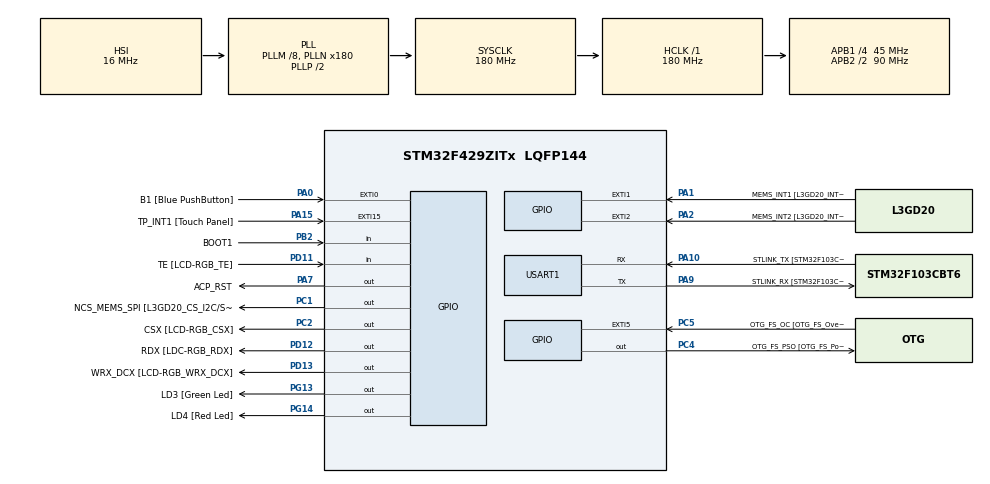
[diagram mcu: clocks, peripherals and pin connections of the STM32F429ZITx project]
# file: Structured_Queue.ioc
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FREERTOS.Tasks01=defaultTask,0,128,StartDefaultTask,Default,NULL,Dynamic,NULL,NULL
Mcu.Family=STM32F4
Mcu.Name=STM32F429ZITx
Mcu.Package=LQFP144
NVIC.PriorityGroup=NVIC_PRIORITYGROUP_4
NVIC.TIM5_IRQn=true\:15\:0\:false\:false\:true\:false\:false\:true\:true
NVIC.TimeBase=TIM5_IRQn
NVIC.TimeBaseIP=TIM5
PA0/WKUP.GPIO_Label=B1 [Blue PushButton]
PA0/WKUP.GPIO_ModeDefaultEXTI=GPIO_MODE_EVT_RISING
PA0/WKUP.GPIO_PuPd=GPIO_NOPULL
PA0/WKUP.Signal=GPXTI0
PA1.GPIO_Label=MEMS_INT1 [L3GD20_INT1]
PA1.GPIO_ModeDefaultEXTI=GPIO_MODE_EVT_RISING
PA1.GPIO_PuPd=GPIO_NOPULL
PA1.Signal=GPXTI1
PA10.GPIO_Label=STLINK_TX [STM32F103CBT6_PA2]
PA10.Mode=Asynchronous
PA10.Signal=USART1_RX
PA11.GPIO_Label=R4
PA11.GPIO_Mode=GPIO_MODE_AF_PP
PA11.GPIO_PuPd=GPIO_NOPULL
PA11.GPIO_Speed=GPIO_SPEED_FREQ_LOW
PA11.Signal=LTDC_R4
PA12.GPIO_Label=R5
PA12.GPIO_Mode=GPIO_MODE_AF_PP
PA12.GPIO_PuPd=GPIO_NOPULL
PA12.GPIO_Speed=GPIO_SPEED_FREQ_LOW
PA12.Signal=LTDC_R5
PA13.GPIO_Label=SWDIO
PA13.Signal=SYS_JTMS-SWDIO
PA14.GPIO_Label=SWCLK
PA14.Signal=SYS_JTCK-SWCLK
PA15.GPIO_Label=TP_INT1 [Touch Panel]
PA15.GPIO_ModeDefaultEXTI=GPIO_MODE_EVT_RISING
PA15.GPIO_PuPd=GPIO_NOPULL
PA15.Signal=GPXTI15
PA2.GPIO_Label=MEMS_INT2 [L3GD20_INT2]
PA2.GPIO_ModeDefaultEXTI=GPIO_MODE_EVT_RISING
PA2.GPIO_PuPd=GPIO_NOPULL
PA2.Signal=GPXTI2
PA3.GPIO_Label=B5
PA3.GPIO_Mode=GPIO_MODE_AF_PP
PA3.GPIO_PuPd=GPIO_NOPULL
PA3.GPIO_Speed=GPIO_SPEED_FREQ_LOW
PA3.Signal=LTDC_B5
PA4.GPIO_Label=VSYNC
PA4.GPIO_Mode=GPIO_MODE_AF_PP
PA4.GPIO_PuPd=GPIO_NOPULL
PA4.GPIO_Speed=GPIO_SPEED_FREQ_LOW
PA4.Signal=LTDC_VSYNC
PA6.GPIO_Label=G2
PA6.GPIO_Mode=GPIO_MODE_AF_PP
PA6.GPIO_PuPd=GPIO_NOPULL
PA6.GPIO_Speed=GPIO_SPEED_FREQ_LOW
PA6.Signal=LTDC_G2
PA7.GPIO_Label=ACP_RST
PA7.GPIO_Mode=GPIO_MODE_OUTPUT_PP
PA7.GPIO_PuPd=GPIO_NOPULL
PA7.GPIO_Speed=GPIO_SPEED_FREQ_LOW
PA7.Signal=GPIO_Output
PA8.GPIO_Label=I2C3_SCL [ACP/RF_SCL]
PA8.GPIO_Mode=GPIO_MODE_AF_OD
PA8.GPIO_PuPd=GPIO_NOPULL
PA8.GPIO_Speed=GPIO_SPEED_FREQ_LOW
PA8.Signal=I2C3_SCL
PA9.GPIO_Label=STLINK_RX [STM32F103CBT6_PA3]
PA9.Mode=Asynchronous
PA9.Signal=USART1_TX
PB0.GPIO_Label=R3
PB0.GPIO_Mode=GPIO_MODE_AF_PP
PB0.GPIO_PuPd=GPIO_NOPULL
PB0.GPIO_Speed=GPIO_SPEED_FREQ_LOW
PB0.Signal=LTDC_R3
PB1.GPIO_Label=R6
PB1.GPIO_Mode=GPIO_MODE_AF_PP
PB1.GPIO_PuPd=GPIO_NOPULL
PB1.GPIO_Speed=GPIO_SPEED_FREQ_LOW
PB1.Signal=LTDC_R6
PB10.GPIO_Label=G4
PB10.GPIO_Mode=GPIO_MODE_AF_PP
PB10.GPIO_PuPd=GPIO_NOPULL
PB10.GPIO_Speed=GPIO_SPEED_FREQ_LOW
PB10.Signal=LTDC_G4
PB11.GPIO_Label=G5
PB11.GPIO_Mode=GPIO_MODE_AF_PP
PB11.GPIO_PuPd=GPIO_NOPULL
PB11.GPIO_Speed=GPIO_SPEED_FREQ_LOW
PB11.Signal=LTDC_G5
PB12.GPIO_Label=OTG_HS_ID
PB12.GPIO_Mode=GPIO_MODE_AF_PP
PB12.GPIO_PuPd=GPIO_NOPULL
PB12.GPIO_Speed=GPIO_SPEED_FREQ_LOW
PB12.Signal=USB_OTG_HS_ID
PB13.GPIO_Label=VBUS_HS
PB13.GPIO_Mode=GPIO_MODE_INPUT
PB13.GPIO_PuPd=GPIO_NOPULL
PB13.Signal=USB_OTG_HS_VBUS
PB14.GPIO_Label=OTG_HS_DM
PB14.GPIO_Mode=GPIO_MODE_AF_PP
PB14.GPIO_PuPd=GPIO_NOPULL
PB14.GPIO_Speed=GPIO_SPEED_FREQ_LOW
PB14.Signal=USB_OTG_HS_DM
PB15.GPIO_Label=OTG_HS_DP
PB15.GPIO_Mode=GPIO_MODE_AF_PP
PB15.GPIO_PuPd=GPIO_NOPULL
PB15.GPIO_Speed=GPIO_SPEED_FREQ_LOW
PB15.Signal=USB_OTG_HS_DP
PB2/BOOT1.GPIO_Label=BOOT1
PB2/BOOT1.GPIO_Mode=GPIO_MODE_INPUT
PB2/BOOT1.GPIO_PuPd=GPIO_NOPULL
PB2/BOOT1.Signal=GPIO_Input
PB5.GPIO_Label=SDCKE1
PB5.GPIO_Mode=GPIO_MODE_AF_PP
PB5.GPIO_PuPd=GPIO_NOPULL
PB5.GPIO_Speed=GPIO_SPEED_FREQ_VERY_HIGH
PB5.Signal=FMC_SDCKE1
PB6.GPIO_Label=SDNE1 [SDRAM_CS]
PB6.GPIO_Mode=GPIO_MODE_AF_PP
PB6.GPIO_PuPd=GPIO_NOPULL
PB6.GPIO_Speed=GPIO_SPEED_FREQ_VERY_HIGH
PB6.Signal=FMC_SDNE1
PB8.GPIO_Label=B6
PB8.GPIO_Mode=GPIO_MODE_AF_PP
PB8.GPIO_PuPd=GPIO_NOPULL
PB8.GPIO_Speed=GPIO_SPEED_FREQ_LOW
PB8.Signal=LTDC_B6
PB9.GPIO_Label=B7
PB9.GPIO_Mode=GPIO_MODE_AF_PP
PB9.GPIO_PuPd=GPIO_NOPULL
PB9.GPIO_Speed=GPIO_SPEED_FREQ_LOW
PB9.Signal=LTDC_B7
PC0.GPIO_Label=SDNWE
PC0.GPIO_Mode=GPIO_MODE_AF_PP
PC0.GPIO_PuPd=GPIO_NOPULL
PC0.GPIO_Speed=GPIO_SPEED_FREQ_VERY_HIGH
PC0.Signal=FMC_SDNWE
PC1.GPIO_Label=NCS_MEMS_SPI [L3GD20_CS_I2C/SPI]
PC1.GPIO_Mode=GPIO_MODE_OUTPUT_PP
PC1.GPIO_PuPd=GPIO_NOPULL
PC1.GPIO_Speed=GPIO_SPEED_FREQ_LOW
PC1.Signal=GPIO_Output
PC10.GPIO_Label=R2
PC10.GPIO_Mode=GPIO_MODE_AF_PP
PC10.GPIO_PuPd=GPIO_NOPULL
PC10.GPIO_Speed=GPIO_SPEED_FREQ_LOW
PC10.Signal=LTDC_R2
PC14/OSC32_IN.GPIO_Label=PC14-OSC32_IN
PC14/OSC32_IN.Signal=RCC_OSC32_IN
PC15/OSC32_OUT.GPIO_Label=PC15-OSC32_OUT
PC15/OSC32_OUT.Signal=RCC_OSC32_OUT
PC2.GPIO_Label=CSX [LCD-RGB_CSX]
PC2.GPIO_Mode=GPIO_MODE_OUTPUT_PP
PC2.GPIO_PuPd=GPIO_NOPULL
PC2.GPIO_Speed=GPIO_SPEED_FREQ_LOW
PC2.Signal=GPIO_Output
PC4.GPIO_Label=OTG_FS_PSO [OTG_FS_PowerSwitchOn]
PC4.GPIO_Mode=GPIO_MODE_OUTPUT_PP
PC4.GPIO_PuPd=GPIO_NOPULL
PC4.GPIO_Speed=GPIO_SPEED_FREQ_LOW
PC4.Signal=GPIO_Output
PC5.GPIO_Label=OTG_FS_OC [OTG_FS_OverCurrent]
PC5.GPIO_ModeDefaultEXTI=GPIO_MODE_EVT_RISING
PC5.Signal=GPXTI5
PC6.GPIO_Label=HSYNC
PC6.GPIO_Mode=GPIO_MODE_AF_PP
PC6.GPIO_PuPd=GPIO_NOPULL
PC6.GPIO_Speed=GPIO_SPEED_FREQ_LOW
PC6.Signal=LTDC_HSYNC
PC7.GPIO_Label=G6
PC7.GPIO_Mode=GPIO_MODE_AF_PP
PC7.GPIO_PuPd=GPIO_NOPULL
PC7.GPIO_Speed=GPIO_SPEED_FREQ_LOW
PC7.Signal=LTDC_G6
PC9.GPIO_Label=I2C3_SDA [ACP/RF_SDA]
PC9.GPIO_Mode=GPIO_MODE_AF_OD
PC9.GPIO_PuPd=GPIO_NOPULL
PC9.GPIO_Speed=GPIO_SPEED_FREQ_LOW
PC9.Signal=I2C3_SDA
PD0.GPIO_Label=D2
PD0.GPIO_Mode=GPIO_MODE_AF_PP
PD0.GPIO_PuPd=GPIO_NOPULL
PD0.GPIO_Speed=GPIO_SPEED_FREQ_VERY_HIGH
PD0.Signal=FMC_D2_DA2
PD1.GPIO_Label=D3
PD1.GPIO_Mode=GPIO_MODE_AF_PP
PD1.GPIO_PuPd=GPIO_NOPULL
PD1.GPIO_Speed=GPIO_SPEED_FREQ_VERY_HIGH
PD1.Signal=FMC_D3_DA3
PD10.GPIO_Label=D15
PD10.GPIO_Mode=GPIO_MODE_AF_PP
PD10.GPIO_PuPd=GPIO_NOPULL
PD10.GPIO_Speed=GPIO_SPEED_FREQ_VERY_HIGH
PD10.Signal=FMC_D15_DA15
PD11.GPIO_Label=TE [LCD-RGB_TE]
PD11.GPIO_Mode=GPIO_MODE_INPUT
PD11.GPIO_PuPd=GPIO_NOPULL
PD11.Signal=GPIO_Input
PD12.GPIO_Label=RDX [LDC-RGB_RDX]
PD12.GPIO_Mode=GPIO_MODE_OUTPUT_PP
PD12.GPIO_PuPd=GPIO_NOPULL
PD12.GPIO_Speed=GPIO_SPEED_FREQ_LOW
PD12.Signal=GPIO_Output
PD13.GPIO_Label=WRX_DCX [LCD-RGB_WRX_DCX]
PD13.GPIO_Mode=GPIO_MODE_OUTPUT_PP
PD13.GPIO_PuPd=GPIO_NOPULL
PD13.GPIO_Speed=GPIO_SPEED_FREQ_LOW
PD13.Signal=GPIO_Output
PD14.GPIO_Label=D0
PD14.GPIO_Mode=GPIO_MODE_AF_PP
PD14.GPIO_PuPd=GPIO_NOPULL
PD14.GPIO_Speed=GPIO_SPEED_FREQ_VERY_HIGH
PD14.Signal=FMC_D0_DA0
PD15.GPIO_Label=D1
PD15.GPIO_Mode=GPIO_MODE_AF_PP
PD15.GPIO_PuPd=GPIO_NOPULL
PD15.GPIO_Speed=GPIO_SPEED_FREQ_VERY_HIGH
PD15.Signal=FMC_D1_DA1
PD3.GPIO_Label=G7
PD3.GPIO_Mode=GPIO_MODE_AF_PP
PD3.GPIO_PuPd=GPIO_NOPULL
PD3.GPIO_Speed=GPIO_SPEED_FREQ_LOW
PD3.Signal=LTDC_G7
PD6.GPIO_Label=B2
PD6.GPIO_Mode=GPIO_MODE_AF_PP
PD6.GPIO_PuPd=GPIO_NOPULL
PD6.GPIO_Speed=GPIO_SPEED_FREQ_LOW
PD6.Signal=LTDC_B2
PD8.GPIO_Label=D13
PD8.GPIO_Mode=GPIO_MODE_AF_PP
PD8.GPIO_PuPd=GPIO_NOPULL
PD8.GPIO_Speed=GPIO_SPEED_FREQ_VERY_HIGH
PD8.Signal=FMC_D13_DA13
PD9.GPIO_Label=D14
PD9.GPIO_Mode=GPIO_MODE_AF_PP
PD9.GPIO_PuPd=GPIO_NOPULL
PD9.GPIO_Speed=GPIO_SPEED_FREQ_VERY_HIGH
PD9.Signal=FMC_D14_DA14
PE0.GPIO_Label=NBL0 [SDRAM_LDQM]
PE0.GPIO_Mode=GPIO_MODE_AF_PP
PE0.GPIO_PuPd=GPIO_NOPULL
PE0.GPIO_Speed=GPIO_SPEED_FREQ_VERY_HIGH
PE0.Signal=FMC_NBL0
PE1.GPIO_Label=NBL1 [SDRAM_UDQM]
PE1.GPIO_Mode=GPIO_MODE_AF_PP
PE1.GPIO_PuPd=GPIO_NOPULL
PE1.GPIO_Speed=GPIO_SPEED_FREQ_VERY_HIGH
PE1.Signal=FMC_NBL1
PE10.GPIO_Label=D7
PE10.GPIO_Mode=GPIO_MODE_AF_PP
PE10.GPIO_PuPd=GPIO_NOPULL
PE10.GPIO_Speed=GPIO_SPEED_FREQ_VERY_HIGH
PE10.Signal=FMC_D7_DA7
PE11.GPIO_Label=D8
PE11.GPIO_Mode=GPIO_MODE_AF_PP
PE11.GPIO_PuPd=GPIO_NOPULL
PE11.GPIO_Speed=GPIO_SPEED_FREQ_VERY_HIGH
PE11.Signal=FMC_D8_DA8
PE12.GPIO_Label=D9
PE12.GPIO_Mode=GPIO_MODE_AF_PP
PE12.GPIO_PuPd=GPIO_NOPULL
PE12.GPIO_Speed=GPIO_SPEED_FREQ_VERY_HIGH
PE12.Signal=FMC_D9_DA9
PE13.GPIO_Label=D10
PE13.GPIO_Mode=GPIO_MODE_AF_PP
PE13.GPIO_PuPd=GPIO_NOPULL
PE13.GPIO_Speed=GPIO_SPEED_FREQ_VERY_HIGH
PE13.Signal=FMC_D10_DA10
PE14.GPIO_Label=D11
PE14.GPIO_Mode=GPIO_MODE_AF_PP
PE14.GPIO_PuPd=GPIO_NOPULL
PE14.GPIO_Speed=GPIO_SPEED_FREQ_VERY_HIGH
PE14.Signal=FMC_D11_DA11
PE15.GPIO_Label=D12
PE15.GPIO_Mode=GPIO_MODE_AF_PP
PE15.GPIO_PuPd=GPIO_NOPULL
PE15.GPIO_Speed=GPIO_SPEED_FREQ_VERY_HIGH
PE15.Signal=FMC_D12_DA12
PE7.GPIO_Label=D4
PE7.GPIO_Mode=GPIO_MODE_AF_PP
PE7.GPIO_PuPd=GPIO_NOPULL
PE7.GPIO_Speed=GPIO_SPEED_FREQ_VERY_HIGH
PE7.Signal=FMC_D4_DA4
PE8.GPIO_Label=D5
PE8.GPIO_Mode=GPIO_MODE_AF_PP
PE8.GPIO_PuPd=GPIO_NOPULL
PE8.GPIO_Speed=GPIO_SPEED_FREQ_VERY_HIGH
PE8.Signal=FMC_D5_DA5
PE9.GPIO_Label=D6
PE9.GPIO_Mode=GPIO_MODE_AF_PP
PE9.GPIO_PuPd=GPIO_NOPULL
PE9.GPIO_Speed=GPIO_SPEED_FREQ_VERY_HIGH
PE9.Signal=FMC_D6_DA6
PF0.GPIO_Label=A0
PF0.GPIO_Mode=GPIO_MODE_AF_PP
PF0.GPIO_PuPd=GPIO_NOPULL
PF0.GPIO_Speed=GPIO_SPEED_FREQ_VERY_HIGH
PF0.Signal=FMC_A0
PF1.GPIO_Label=A1
PF1.GPIO_Mode=GPIO_MODE_AF_PP
PF1.GPIO_PuPd=GPIO_NOPULL
PF1.GPIO_Speed=GPIO_SPEED_FREQ_VERY_HIGH
PF1.Signal=FMC_A1
PF10.GPIO_Label=ENABLE [LCD-RGB_ENABLE]
PF10.GPIO_Mode=GPIO_MODE_AF_PP
PF10.GPIO_PuPd=GPIO_NOPULL
PF10.GPIO_Speed=GPIO_SPEED_FREQ_LOW
PF10.Signal=LTDC_DE
PF11.GPIO_Label=SDNRAS
PF11.GPIO_Mode=GPIO_MODE_AF_PP
PF11.GPIO_PuPd=GPIO_NOPULL
PF11.GPIO_Speed=GPIO_SPEED_FREQ_VERY_HIGH
PF11.Signal=FMC_SDNRAS
PF12.GPIO_Label=A6
PF12.GPIO_Mode=GPIO_MODE_AF_PP
PF12.GPIO_PuPd=GPIO_NOPULL
PF12.GPIO_Speed=GPIO_SPEED_FREQ_VERY_HIGH
PF12.Signal=FMC_A6
PF13.GPIO_Label=A7
PF13.GPIO_Mode=GPIO_MODE_AF_PP
PF13.GPIO_PuPd=GPIO_NOPULL
PF13.GPIO_Speed=GPIO_SPEED_FREQ_VERY_HIGH
PF13.Signal=FMC_A7
PF14.GPIO_Label=A8
PF14.GPIO_Mode=GPIO_MODE_AF_PP
PF14.GPIO_PuPd=GPIO_NOPULL
PF14.GPIO_Speed=GPIO_SPEED_FREQ_VERY_HIGH
PF14.Signal=FMC_A8
PF15.GPIO_Label=A9
PF15.GPIO_Mode=GPIO_MODE_AF_PP
PF15.GPIO_PuPd=GPIO_NOPULL
PF15.GPIO_Speed=GPIO_SPEED_FREQ_VERY_HIGH
PF15.Signal=FMC_A9
PF2.GPIO_Label=A2
PF2.GPIO_Mode=GPIO_MODE_AF_PP
PF2.GPIO_PuPd=GPIO_NOPULL
PF2.GPIO_Speed=GPIO_SPEED_FREQ_VERY_HIGH
PF2.Signal=FMC_A2
PF3.GPIO_Label=A3
PF3.GPIO_Mode=GPIO_MODE_AF_PP
PF3.GPIO_PuPd=GPIO_NOPULL
PF3.GPIO_Speed=GPIO_SPEED_FREQ_VERY_HIGH
PF3.Signal=FMC_A3
PF4.GPIO_Label=A4
PF4.GPIO_Mode=GPIO_MODE_AF_PP
PF4.GPIO_PuPd=GPIO_NOPULL
PF4.GPIO_Speed=GPIO_SPEED_FREQ_VERY_HIGH
PF4.Signal=FMC_A4
PF5.GPIO_Label=A5
PF5.GPIO_Mode=GPIO_MODE_AF_PP
PF5.GPIO_PuPd=GPIO_NOPULL
PF5.GPIO_Speed=GPIO_SPEED_FREQ_VERY_HIGH
PF5.Signal=FMC_A5
PF7.GPIO_Label=SPI5_SCK [L3GD20_SCL/SPC]
PF7.GPIO_Mode=GPIO_MODE_AF_PP
PF7.GPIO_PuPd=GPIO_NOPULL
PF7.GPIO_Speed=GPIO_SPEED_FREQ_LOW
PF7.Signal=SPI5_SCK
PF8.GPIO_Label=SPI5_MISO [L3GD20_SDO]
PF8.GPIO_Mode=GPIO_MODE_AF_PP
PF8.GPIO_PuPd=GPIO_NOPULL
PF8.GPIO_Speed=GPIO_SPEED_FREQ_LOW
PF8.Signal=SPI5_MISO
PF9.GPIO_Label=SPI5_MOSI [L3GD20_SDA/SDI/SDO]
PF9.GPIO_Mode=GPIO_MODE_AF_PP
PF9.GPIO_PuPd=GPIO_NOPULL
PF9.GPIO_Speed=GPIO_SPEED_FREQ_LOW
PF9.Signal=SPI5_MOSI
PG0.GPIO_Label=A10
PG0.GPIO_Mode=GPIO_MODE_AF_PP
PG0.GPIO_PuPd=GPIO_NOPULL
PG0.GPIO_Speed=GPIO_SPEED_FREQ_VERY_HIGH
PG0.Signal=FMC_A10
PG1.GPIO_Label=A11
PG1.GPIO_Mode=GPIO_MODE_AF_PP
PG1.GPIO_PuPd=GPIO_NOPULL
PG1.GPIO_Speed=GPIO_SPEED_FREQ_VERY_HIGH
PG1.Signal=FMC_A11
PG10.GPIO_Label=G3
PG10.GPIO_Mode=GPIO_MODE_AF_PP
PG10.GPIO_PuPd=GPIO_NOPULL
PG10.GPIO_Speed=GPIO_SPEED_FREQ_LOW
PG10.Signal=LTDC_G3
PG11.GPIO_Label=B3
PG11.GPIO_Mode=GPIO_MODE_AF_PP
PG11.GPIO_PuPd=GPIO_NOPULL
PG11.GPIO_Speed=GPIO_SPEED_FREQ_LOW
PG11.Signal=LTDC_B3
PG12.GPIO_Label=B4
PG12.GPIO_Mode=GPIO_MODE_AF_PP
PG12.GPIO_PuPd=GPIO_NOPULL
PG12.GPIO_Speed=GPIO_SPEED_FREQ_LOW
PG12.Signal=LTDC_B4
PG13.GPIO_Label=LD3 [Green Led]
PG13.GPIO_Mode=GPIO_MODE_OUTPUT_PP
PG13.GPIO_PuPd=GPIO_NOPULL
PG13.GPIO_Speed=GPIO_SPEED_FREQ_LOW
PG13.Signal=GPIO_Output
PG14.GPIO_Label=LD4 [Red Led]
PG14.GPIO_Mode=GPIO_MODE_OUTPUT_PP
PG14.GPIO_PuPd=GPIO_NOPULL
PG14.GPIO_Speed=GPIO_SPEED_FREQ_LOW
PG14.Signal=GPIO_Output
PG15.GPIO_Label=SDNCAS
PG15.GPIO_Mode=GPIO_MODE_AF_PP
PG15.GPIO_PuPd=GPIO_NOPULL
PG15.GPIO_Speed=GPIO_SPEED_FREQ_VERY_HIGH
PG15.Signal=FMC_SDNCAS
PG4.GPIO_Label=BA0
PG4.GPIO_Mode=GPIO_MODE_AF_PP
PG4.GPIO_PuPd=GPIO_NOPULL
PG4.GPIO_Speed=GPIO_SPEED_FREQ_VERY_HIGH
PG4.Signal=FMC_A14_BA0
PG5.GPIO_Label=BA1
PG5.GPIO_Mode=GPIO_MODE_AF_PP
PG5.GPIO_PuPd=GPIO_NOPULL
PG5.GPIO_Speed=GPIO_SPEED_FREQ_VERY_HIGH
PG5.Signal=FMC_A15_BA1
PG6.GPIO_Label=R7
PG6.GPIO_Mode=GPIO_MODE_AF_PP
PG6.GPIO_PuPd=GPIO_NOPULL
PG6.GPIO_Speed=GPIO_SPEED_FREQ_LOW
PG6.Signal=LTDC_R7
PG7.GPIO_Label=DOTCLK [LCT-RGB_DOTCLK]
PG7.GPIO_Mode=GPIO_MODE_AF_PP
PG7.GPIO_PuPd=GPIO_NOPULL
PG7.GPIO_Speed=GPIO_SPEED_FREQ_LOW
PG7.Signal=LTDC_CLK
PG8.GPIO_Label=SDCLK
PG8.GPIO_Mode=GPIO_MODE_AF_PP
PG8.GPIO_PuPd=GPIO_NOPULL
PG8.GPIO_Speed=GPIO_SPEED_FREQ_VERY_HIGH
PG8.Signal=FMC_SDCLK
PH0/OSC_IN.GPIO_Label=PH0-OSC_IN
PH0/OSC_IN.Mode=HSE-External-Oscillator
PH0/OSC_IN.Signal=RCC_OSC_IN
PH1/OSC_OUT.GPIO_Label=PH1-OSC_OUT
PH1/OSC_OUT.Mode=HSE-External-Oscillator
PH1/OSC_OUT.Signal=RCC_OSC_OUT
ProjectManager.HeapSize=0x200
ProjectManager.StackSize=0x400
ProjectManager.TargetToolchain=STM32CubeIDE
RCC.48MHZClocksFreq_Value=51428571.428571425
RCC.AHBFreq_Value=180000000
RCC.APB1CLKDivider=RCC_HCLK_DIV4
RCC.APB1Freq_Value=45000000
RCC.APB1TimFreq_Value=90000000
RCC.APB2CLKDivider=RCC_HCLK_DIV2
RCC.APB2Freq_Value=90000000
RCC.APB2TimFreq_Value=180000000
RCC.CortexFreq_Value=180000000
RCC.HCLKFreq_Value=180000000
RCC.HSE_VALUE=8000000
RCC.HSI_VALUE=16000000
RCC.LSE_VALUE=32768
RCC.PLLM=8
RCC.PLLN=180
RCC.PLLQ=7
RCC.SYSCLKFreq_VALUE=180000000
RCC.SYSCLKSource=RCC_SYSCLKSOURCE_PLLCLK
RCC.VCOOutputFreq_Value=360000000
SH.FMC_A0.0=FMC_A0
SH.FMC_A1.0=FMC_A1
SH.FMC_A10.0=FMC_A10
SH.FMC_A11.0=FMC_A11
SH.FMC_A14_BA0.0=FMC_BA0
SH.FMC_A15_BA1.0=FMC_BA1
SH.FMC_A2.0=FMC_A2
SH.FMC_A3.0=FMC_A3
SH.FMC_A4.0=FMC_A4
SH.FMC_A5.0=FMC_A5
SH.FMC_A6.0=FMC_A6
SH.FMC_A7.0=FMC_A7
SH.FMC_A8.0=FMC_A8
SH.FMC_A9.0=FMC_A9
SH.FMC_D0_DA0.0=FMC_D0
SH.FMC_D10_DA10.0=FMC_D10
SH.FMC_D11_DA11.0=FMC_D11
SH.FMC_D12_DA12.0=FMC_D12
SH.FMC_D13_DA13.0=FMC_D13
SH.FMC_D14_DA14.0=FMC_D14
SH.FMC_D15_DA15.0=FMC_D15
SH.FMC_D1_DA1.0=FMC_D1
SH.FMC_D2_DA2.0=FMC_D2
SH.FMC_D3_DA3.0=FMC_D3
SH.FMC_D4_DA4.0=FMC_D4
SH.FMC_D5_DA5.0=FMC_D5
SH.FMC_D6_DA6.0=FMC_D6
SH.FMC_D7_DA7.0=FMC_D7
SH.FMC_D8_DA8.0=FMC_D8
SH.FMC_D9_DA9.0=FMC_D9
SH.FMC_NBL0.0=FMC_NBL0
SH.FMC_NBL1.0=FMC_NBL1
SH.FMC_SDCLK.0=FMC_SDCLK
SH.FMC_SDNCAS.0=FMC_SDNCAS
SH.FMC_SDNRAS.0=FMC_SDNRAS
SH.FMC_SDNWE.0=FMC_SDNWE
USART1.VirtualMode=VM_ASYNC
VP_FREERTOS_VS_CMSIS_V1.Mode=CMSIS_V1
VP_SYS_VS_tim5.Mode=TIM5
board=STM32F429I-DISC1

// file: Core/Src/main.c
/* USER CODE BEGIN Header */
/**
  ******************************************************************************
  * @file           : main.c
  * @brief          : Main program body
  ******************************************************************************
  * @attention
  *
  * Copyright (c) 2024 STMicroelectronics.
  * All rights reserved.
  *
  * This software is licensed under terms that can be found in the LICENSE file
  * in the root directory of this software component.
  * If no LICENSE file comes with this software, it is provided AS-IS.
  *
  ******************************************************************************
  */
/* USER CODE END Header */
#include "main.h"

/* USER CODE BEGIN Includes */

#include "FreeRTOS.h"
#include "task.h"
#include "timers.h"
#include "queue.h"
#include "semphr.h"
#include "event_groups.h"
#include "stdio.h"
#include "string.h"

/* USER CODE END Includes */

UART_HandleTypeDef huart1;

void SystemClock_Config(void);
static void MX_GPIO_Init(void);
static void MX_USART1_UART_Init(void);

/* USER CODE BEGIN 0 */
//*************** Queue Handler ************///
xQueueHandle St_Queue_Handler;

//************** Task Handler ***************///

xTaskHandle Sender1_Task_Handler;
xTaskHandle Sender2_Task_Handler;
xTaskHandle Receiver_Task_Handler;

///************* Task Functions *************////

void Sender1_Task  (void *argument);
void Sender2_Task  (void *argument);
void Receiver_Task (void *argument);

///*************Structure Definition ******/////

typedef struct{
	char *str;
	int counter;
	uint16_t large_value;
}my_struct;

int indx1 = 0;
int indx2 = 0;

/* USER CODE END 0 */

int main(void)
{

  /* MCU Configuration--------------------------------------------------------*/

  /* Reset of all peripherals, Initializes the Flash interface and the Systick. */
  HAL_Init();

  /* Configure the system clock */
  SystemClock_Config();

  /* Initialize all configured peripherals */
  MX_GPIO_Init();
  MX_USART1_UART_Init();
  /* USER CODE BEGIN 2 */

  St_Queue_Handler = xQueueCreate(2, sizeof(my_struct));

  if (St_Queue_Handler == 0)
  {
	  char *str = "Unable to create Structured Queue \n \n\r";
	  HAL_UART_Transmit(&huart1, (uint8_t *)str,strlen(str), HAL_MAX_DELAY);
  }
  else
  {
	  char *str = "Structured Queue Created \n \n\r";
	  HAL_UART_Transmit(&huart1, (uint8_t *)str,strlen(str), HAL_MAX_DELAY);
  }

  //************* Create Tasks *************///////////

  xTaskCreate(Sender1_Task, "SENDER1", 128, NULL, 2, &Sender1_Task_Handler);
  xTaskCreate(Sender2_Task, "SENDER2", 128, NULL, 2, &Sender2_Task_Handler);
  xTaskCreate(Receiver_Task, "RECEIVER", 128, NULL, 1, &Receiver_Task_Handler);

  /****Start Scheduler**********///

  vTaskStartScheduler();
  /* USER CODE END 2 */

  /* We should never get here as control is now taken by the scheduler */

  /* Infinite loop */
  while (1)
  {

  }
}

void SystemClock_Config(void)
{
  RCC_OscInitTypeDef RCC_OscInitStruct = {0};
  RCC_ClkInitTypeDef RCC_ClkInitStruct = {0};

  /** Configure the main internal regulator output voltage
  */
  __HAL_RCC_PWR_CLK_ENABLE();
  __HAL_PWR_VOLTAGESCALING_CONFIG(PWR_REGULATOR_VOLTAGE_SCALE1);

  /** Initializes the RCC Oscillators according to the specified parameters
  * in the RCC_OscInitTypeDef structure.
  */
  RCC_OscInitStruct.OscillatorType = RCC_OSCILLATORTYPE_HSI;
  RCC_OscInitStruct.HSIState = RCC_HSI_ON;
  RCC_OscInitStruct.HSICalibrationValue = RCC_HSICALIBRATION_DEFAULT;
  RCC_OscInitStruct.PLL.PLLState = RCC_PLL_ON;
  RCC_OscInitStruct.PLL.PLLSource = RCC_PLLSOURCE_HSI;
  RCC_OscInitStruct.PLL.PLLM = 8;
  RCC_OscInitStruct.PLL.PLLN = 180;
  RCC_OscInitStruct.PLL.PLLP = RCC_PLLP_DIV2;
  RCC_OscInitStruct.PLL.PLLQ = 7;
  if (HAL_RCC_OscConfig(&RCC_OscInitStruct) != HAL_OK)
  {
    Error_Handler();
  }

  /** Activate the Over-Drive mode
  */
  if (HAL_PWREx_EnableOverDrive() != HAL_OK)
  {
    Error_Handler();
  }

  /** Initializes the CPU, AHB and APB buses clocks
  */
  RCC_ClkInitStruct.ClockType = RCC_CLOCKTYPE_HCLK|RCC_CLOCKTYPE_SYSCLK
                              |RCC_CLOCKTYPE_PCLK1|RCC_CLOCKTYPE_PCLK2;
  RCC_ClkInitStruct.SYSCLKSource = RCC_SYSCLKSOURCE_PLLCLK;
  RCC_ClkInitStruct.AHBCLKDivider = RCC_SYSCLK_DIV1;
  RCC_ClkInitStruct.APB1CLKDivider = RCC_HCLK_DIV4;
  RCC_ClkInitStruct.APB2CLKDivider = RCC_HCLK_DIV2;

  if (HAL_RCC_ClockConfig(&RCC_ClkInitStruct, FLASH_LATENCY_5) != HAL_OK)
  {
    Error_Handler();
  }
}

static void MX_USART1_UART_Init(void)
{

  huart1.Instance = USART1;
  huart1.Init.BaudRate = 115200;
  huart1.Init.WordLength = UART_WORDLENGTH_8B;
  huart1.Init.StopBits = UART_STOPBITS_1;
  huart1.Init.Parity = UART_PARITY_NONE;
  huart1.Init.Mode = UART_MODE_TX_RX;
  huart1.Init.HwFlowCtl = UART_HWCONTROL_NONE;
  huart1.Init.OverSampling = UART_OVERSAMPLING_16;
  if (HAL_UART_Init(&huart1) != HAL_OK)
  {
    Error_Handler();
  }

}

static void MX_GPIO_Init(void)
{
  GPIO_InitTypeDef GPIO_InitStruct = {0};

  /* GPIO Ports Clock Enable */
  __HAL_RCC_GPIOC_CLK_ENABLE();
  __HAL_RCC_GPIOF_CLK_ENABLE();
  __HAL_RCC_GPIOH_CLK_ENABLE();
  __HAL_RCC_GPIOA_CLK_ENABLE();
  __HAL_RCC_GPIOB_CLK_ENABLE();
  __HAL_RCC_GPIOG_CLK_ENABLE();
  __HAL_RCC_GPIOE_CLK_ENABLE();
  __HAL_RCC_GPIOD_CLK_ENABLE();

  /*Configure GPIO pin Output Level */
  HAL_GPIO_WritePin(GPIOC, NCS_MEMS_SPI_Pin|CSX_Pin|OTG_FS_PSO_Pin, GPIO_PIN_RESET);

  /*Configure GPIO pin Output Level */
  HAL_GPIO_WritePin(ACP_RST_GPIO_Port, ACP_RST_Pin, GPIO_PIN_RESET);

  /*Configure GPIO pin Output Level */
  HAL_GPIO_WritePin(GPIOD, RDX_Pin|WRX_DCX_Pin, GPIO_PIN_RESET);

  /*Configure GPIO pin Output Level */
  HAL_GPIO_WritePin(GPIOG, LD3_Pin|LD4_Pin, GPIO_PIN_RESET);

  /*Configure GPIO pins : A0_Pin A1_Pin A2_Pin A3_Pin
                           A4_Pin A5_Pin SDNRAS_Pin A6_Pin
                           A7_Pin A8_Pin A9_Pin */
  GPIO_InitStruct.Pin = A0_Pin|A1_Pin|A2_Pin|A3_Pin
                          |A4_Pin|A5_Pin|SDNRAS_Pin|A6_Pin
                          |A7_Pin|A8_Pin|A9_Pin;
  GPIO_InitStruct.Mode = GPIO_MODE_AF_PP;
  GPIO_InitStruct.Pull = GPIO_NOPULL;
  GPIO_InitStruct.Speed = GPIO_SPEED_FREQ_VERY_HIGH;
  GPIO_InitStruct.Alternate = GPIO_AF12_FMC;
  HAL_GPIO_Init(GPIOF, &GPIO_InitStruct);

  /*Configure GPIO pins : SPI5_SCK_Pin SPI5_MISO_Pin SPI5_MOSI_Pin */
  GPIO_InitStruct.Pin = SPI5_SCK_Pin|SPI5_MISO_Pin|SPI5_MOSI_Pin;
  GPIO_InitStruct.Mode = GPIO_MODE_AF_PP;
  GPIO_InitStruct.Pull = GPIO_NOPULL;
  GPIO_InitStruct.Speed = GPIO_SPEED_FREQ_LOW;
  GPIO_InitStruct.Alternate = GPIO_AF5_SPI5;
  HAL_GPIO_Init(GPIOF, &GPIO_InitStruct);

  /*Configure GPIO pin : ENABLE_Pin */
  GPIO_InitStruct.Pin = ENABLE_Pin;
  GPIO_InitStruct.Mode = GPIO_MODE_AF_PP;
  GPIO_InitStruct.Pull = GPIO_NOPULL;
  GPIO_InitStruct.Speed = GPIO_SPEED_FREQ_LOW;
  GPIO_InitStruct.Alternate = GPIO_AF14_LTDC;
  HAL_GPIO_Init(ENABLE_GPIO_Port, &GPIO_InitStruct);

  /*Configure GPIO pin : SDNWE_Pin */
  GPIO_InitStruct.Pin = SDNWE_Pin;
  GPIO_InitStruct.Mode = GPIO_MODE_AF_PP;
  GPIO_InitStruct.Pull = GPIO_NOPULL;
  GPIO_InitStruct.Speed = GPIO_SPEED_FREQ_VERY_HIGH;
  GPIO_InitStruct.Alternate = GPIO_AF12_FMC;
  HAL_GPIO_Init(SDNWE_GPIO_Port, &GPIO_InitStruct);

  /*Configure GPIO pins : NCS_MEMS_SPI_Pin CSX_Pin OTG_FS_PSO_Pin */
  GPIO_InitStruct.Pin = NCS_MEMS_SPI_Pin|CSX_Pin|OTG_FS_PSO_Pin;
  GPIO_InitStruct.Mode = GPIO_MODE_OUTPUT_PP;
  GPIO_InitStruct.Pull = GPIO_NOPULL;
  GPIO_InitStruct.Speed = GPIO_SPEED_FREQ_LOW;
  HAL_GPIO_Init(GPIOC, &GPIO_InitStruct);

  /*Configure GPIO pins : B1_Pin MEMS_INT1_Pin MEMS_INT2_Pin TP_INT1_Pin */
  GPIO_InitStruct.Pin = B1_Pin|MEMS_INT1_Pin|MEMS_INT2_Pin|TP_INT1_Pin;
  GPIO_InitStruct.Mode = GPIO_MODE_EVT_RISING;
  GPIO_InitStruct.Pull = GPIO_NOPULL;
  HAL_GPIO_Init(GPIOA, &GPIO_InitStruct);

  /*Configure GPIO pins : B5_Pin VSYNC_Pin G2_Pin R4_Pin
                           R5_Pin */
  GPIO_InitStruct.Pin = B5_Pin|VSYNC_Pin|G2_Pin|R4_Pin
                          |R5_Pin;
  GPIO_InitStruct.Mode = GPIO_MODE_AF_PP;
  GPIO_InitStruct.Pull = GPIO_NOPULL;
  GPIO_InitStruct.Speed = GPIO_SPEED_FREQ_LOW;
  GPIO_InitStruct.Alternate = GPIO_AF14_LTDC;
  HAL_GPIO_Init(GPIOA, &GPIO_InitStruct);

  /*Configure GPIO pin : ACP_RST_Pin */
  GPIO_InitStruct.Pin = ACP_RST_Pin;
  GPIO_InitStruct.Mode = GPIO_MODE_OUTPUT_PP;
  GPIO_InitStruct.Pull = GPIO_NOPULL;
  GPIO_InitStruct.Speed = GPIO_SPEED_FREQ_LOW;
  HAL_GPIO_Init(ACP_RST_GPIO_Port, &GPIO_InitStruct);

  /*Configure GPIO pin : OTG_FS_OC_Pin */
  GPIO_InitStruct.Pin = OTG_FS_OC_Pin;
  GPIO_InitStruct.Mode = GPIO_MODE_EVT_RISING;
  GPIO_InitStruct.Pull = GPIO_NOPULL;
  HAL_GPIO_Init(OTG_FS_OC_GPIO_Port, &GPIO_InitStruct);

  /*Configure GPIO pins : R3_Pin R6_Pin */
  GPIO_InitStruct.Pin = R3_Pin|R6_Pin;
  GPIO_InitStruct.Mode = GPIO_MODE_AF_PP;
  GPIO_InitStruct.Pull = GPIO_NOPULL;
  GPIO_InitStruct.Speed = GPIO_SPEED_FREQ_LOW;
  GPIO_InitStruct.Alternate = GPIO_AF9_LTDC;
  HAL_GPIO_Init(GPIOB, &GPIO_InitStruct);

  /*Configure GPIO pin : BOOT1_Pin */
  GPIO_InitStruct.Pin = BOOT1_Pin;
  GPIO_InitStruct.Mode = GPIO_MODE_INPUT;
  GPIO_InitStruct.Pull = GPIO_NOPULL;
  HAL_GPIO_Init(BOOT1_GPIO_Port, &GPIO_InitStruct);

  /*Configure GPIO pins : A10_Pin A11_Pin BA0_Pin BA1_Pin
                           SDCLK_Pin SDNCAS_Pin */
  GPIO_InitStruct.Pin = A10_Pin|A11_Pin|BA0_Pin|BA1_Pin
                          |SDCLK_Pin|SDNCAS_Pin;
  GPIO_InitStruct.Mode = GPIO_MODE_AF_PP;
  GPIO_InitStruct.Pull = GPIO_NOPULL;
  GPIO_InitStruct.Speed = GPIO_SPEED_FREQ_VERY_HIGH;
  GPIO_InitStruct.Alternate = GPIO_AF12_FMC;
  HAL_GPIO_Init(GPIOG, &GPIO_InitStruct);

  /*Configure GPIO pins : D4_Pin D5_Pin D6_Pin D7_Pin
                           D8_Pin D9_Pin D10_Pin D11_Pin
                           D12_Pin NBL0_Pin NBL1_Pin */
  GPIO_InitStruct.Pin = D4_Pin|D5_Pin|D6_Pin|D7_Pin
                          |D8_Pin|D9_Pin|D10_Pin|D11_Pin
                          |D12_Pin|NBL0_Pin|NBL1_Pin;
  GPIO_InitStruct.Mode = GPIO_MODE_AF_PP;
  GPIO_InitStruct.Pull = GPIO_NOPULL;
  GPIO_InitStruct.Speed = GPIO_SPEED_FREQ_VERY_HIGH;
  GPIO_InitStruct.Alternate = GPIO_AF12_FMC;
  HAL_GPIO_Init(GPIOE, &GPIO_InitStruct);

  /*Configure GPIO pins : G4_Pin G5_Pin B6_Pin B7_Pin */
  GPIO_InitStruct.Pin = G4_Pin|G5_Pin|B6_Pin|B7_Pin;
  GPIO_InitStruct.Mode = GPIO_MODE_AF_PP;
  GPIO_InitStruct.Pull = GPIO_NOPULL;
  GPIO_InitStruct.Speed = GPIO_SPEED_FREQ_LOW;
  GPIO_InitStruct.Alternate = GPIO_AF14_LTDC;
  HAL_GPIO_Init(GPIOB, &GPIO_InitStruct);

  /*Configure GPIO pins : OTG_HS_ID_Pin OTG_HS_DM_Pin OTG_HS_DP_Pin */
  GPIO_InitStruct.Pin = OTG_HS_ID_Pin|OTG_HS_DM_Pin|OTG_HS_DP_Pin;
  GPIO_InitStruct.Mode = GPIO_MODE_AF_PP;
  GPIO_InitStruct.Pull = GPIO_NOPULL;
  GPIO_InitStruct.Speed = GPIO_SPEED_FREQ_LOW;
  GPIO_InitStruct.Alternate = GPIO_AF12_OTG_HS_FS;
  HAL_GPIO_Init(GPIOB, &GPIO_InitStruct);

  /*Configure GPIO pin : VBUS_HS_Pin */
  GPIO_InitStruct.Pin = VBUS_HS_Pin;
  GPIO_InitStruct.Mode = GPIO_MODE_INPUT;
  GPIO_InitStruct.Pull = GPIO_NOPULL;
  HAL_GPIO_Init(VBUS_HS_GPIO_Port, &GPIO_InitStruct);

  /*Configure GPIO pins : D13_Pin D14_Pin D15_Pin D0_Pin
                           D1_Pin D2_Pin D3_Pin */
  GPIO_InitStruct.Pin = D13_Pin|D14_Pin|D15_Pin|D0_Pin
                          |D1_Pin|D2_Pin|D3_Pin;
  GPIO_InitStruct.Mode = GPIO_MODE_AF_PP;
  GPIO_InitStruct.Pull = GPIO_NOPULL;
  GPIO_InitStruct.Speed = GPIO_SPEED_FREQ_VERY_HIGH;
  GPIO_InitStruct.Alternate = GPIO_AF12_FMC;
  HAL_GPIO_Init(GPIOD, &GPIO_InitStruct);

  /*Configure GPIO pin : TE_Pin */
  GPIO_InitStruct.Pin = TE_Pin;
  GPIO_InitStruct.Mode = GPIO_MODE_INPUT;
  GPIO_InitStruct.Pull = GPIO_NOPULL;
  HAL_GPIO_Init(TE_GPIO_Port, &GPIO_InitStruct);

  /*Configure GPIO pins : RDX_Pin WRX_DCX_Pin */
  GPIO_InitStruct.Pin = RDX_Pin|WRX_DCX_Pin;
  GPIO_InitStruct.Mode = GPIO_MODE_OUTPUT_PP;
  GPIO_InitStruct.Pull = GPIO_NOPULL;
  GPIO_InitStruct.Speed = GPIO_SPEED_FREQ_LOW;
  HAL_GPIO_Init(GPIOD, &GPIO_InitStruct);

  /*Configure GPIO pins : R7_Pin DOTCLK_Pin B3_Pin */
  GPIO_InitStruct.Pin = R7_Pin|DOTCLK_Pin|B3_Pin;
  GPIO_InitStruct.Mode = GPIO_MODE_AF_PP;
  GPIO_InitStruct.Pull = GPIO_NOPULL;
  GPIO_InitStruct.Speed = GPIO_SPEED_FREQ_LOW;
  GPIO_InitStruct.Alternate = GPIO_AF14_LTDC;
  HAL_GPIO_Init(GPIOG, &GPIO_InitStruct);

  /*Configure GPIO pins : HSYNC_Pin G6_Pin R2_Pin */
  GPIO_InitStruct.Pin = HSYNC_Pin|G6_Pin|R2_Pin;
  GPIO_InitStruct.Mode = GPIO_MODE_AF_PP;
  GPIO_InitStruct.Pull = GPIO_NOPULL;
  GPIO_InitStruct.Speed = GPIO_SPEED_FREQ_LOW;
  GPIO_InitStruct.Alternate = GPIO_AF14_LTDC;
  HAL_GPIO_Init(GPIOC, &GPIO_InitStruct);

  /*Configure GPIO pin : I2C3_SDA_Pin */
  GPIO_InitStruct.Pin = I2C3_SDA_Pin;
  GPIO_InitStruct.Mode = GPIO_MODE_AF_OD;
  GPIO_InitStruct.Pull = GPIO_NOPULL;
  GPIO_InitStruct.Speed = GPIO_SPEED_FREQ_LOW;
  GPIO_InitStruct.Alternate = GPIO_AF4_I2C3;
  HAL_GPIO_Init(I2C3_SDA_GPIO_Port, &GPIO_InitStruct);

  /*Configure GPIO pin : I2C3_SCL_Pin */
  GPIO_InitStruct.Pin = I2C3_SCL_Pin;
  GPIO_InitStruct.Mode = GPIO_MODE_AF_OD;
  GPIO_InitStruct.Pull = GPIO_NOPULL;
  GPIO_InitStruct.Speed = GPIO_SPEED_FREQ_LOW;
  GPIO_InitStruct.Alternate = GPIO_AF4_I2C3;
  HAL_GPIO_Init(I2C3_SCL_GPIO_Port, &GPIO_InitStruct);

  /*Configure GPIO pins : G7_Pin B2_Pin */
  GPIO_InitStruct.Pin = G7_Pin|B2_Pin;
  GPIO_InitStruct.Mode = GPIO_MODE_AF_PP;
  GPIO_InitStruct.Pull = GPIO_NOPULL;
  GPIO_InitStruct.Speed = GPIO_SPEED_FREQ_LOW;
  GPIO_InitStruct.Alternate = GPIO_AF14_LTDC;
  HAL_GPIO_Init(GPIOD, &GPIO_InitStruct);

  /*Configure GPIO pins : G3_Pin B4_Pin */
  GPIO_InitStruct.Pin = G3_Pin|B4_Pin;
  GPIO_InitStruct.Mode = GPIO_MODE_AF_PP;
  GPIO_InitStruct.Pull = GPIO_NOPULL;
  GPIO_InitStruct.Speed = GPIO_SPEED_FREQ_LOW;
  GPIO_InitStruct.Alternate = GPIO_AF9_LTDC;
  HAL_GPIO_Init(GPIOG, &GPIO_InitStruct);

  /*Configure GPIO pins : LD3_Pin LD4_Pin */
  GPIO_InitStruct.Pin = LD3_Pin|LD4_Pin;
  GPIO_InitStruct.Mode = GPIO_MODE_OUTPUT_PP;
  GPIO_InitStruct.Pull = GPIO_NOPULL;
  GPIO_InitStruct.Speed = GPIO_SPEED_FREQ_LOW;
  HAL_GPIO_Init(GPIOG, &GPIO_InitStruct);

  /*Configure GPIO pins : SDCKE1_Pin SDNE1_Pin */
  GPIO_InitStruct.Pin = SDCKE1_Pin|SDNE1_Pin;
  GPIO_InitStruct.Mode = GPIO_MODE_AF_PP;
  GPIO_InitStruct.Pull = GPIO_NOPULL;
  GPIO_InitStruct.Speed = GPIO_SPEED_FREQ_VERY_HIGH;
  GPIO_InitStruct.Alternate = GPIO_AF12_FMC;
  HAL_GPIO_Init(GPIOB, &GPIO_InitStruct);

}

/* USER CODE BEGIN 4 */

void Sender1_Task (void *argument)
{
	my_struct *ptrtostruct;

	uint32_t Tickdelay = pdMS_TO_TICKS(2000);

	while(1)
	{
		char *str = "Entered SENDER1 TASK \n about to send to the queue \n \r";
		HAL_UART_Transmit(&huart1, (uint8_t *)str, strlen(str), HAL_MAX_DELAY);

		/********** Allocate Memory ************////

		ptrtostruct = pvPortMalloc(sizeof (my_struct));

		// ******** Load the DATA ******/////

		ptrtostruct -> counter = 1*indx1;
		ptrtostruct -> large_value = 1000 + indx1*100;
		ptrtostruct -> str = "HEllO from SENDER1 \n \r";

		// ********* Send to the Queue ***********////

		if ( xQueueSend(St_Queue_Handler, &ptrtostruct, portMAX_DELAY) == pdPASS)
		{
			char *str2 = "Successfully sent to the queue \n Leaving SENDER1 TASK \n \r";
			HAL_UART_Transmit(&huart1, (uint8_t *)str, strlen(str2), HAL_MAX_DELAY);
		}

		indx1 = indx1+1;
		vTaskDelay(Tickdelay);
	}
}
void Sender2_Task (void *argument)
{
		my_struct *ptrtostruct;

		uint32_t Tickdelay = pdMS_TO_TICKS(2000);

		while(1)
		{
			char *str = "Entered SENDER2 TASK \n about to send to the queue \n \r";
			HAL_UART_Transmit(&huart1, (uint8_t *)str, strlen(str), HAL_MAX_DELAY);

			/********** Allocate Memory ************////

			ptrtostruct = pvPortMalloc(sizeof (my_struct));

			// ******** Load the DATA ******/////

			ptrtostruct -> counter = 1 + indx2;
			ptrtostruct -> large_value = 2000 + indx2*200;
			ptrtostruct -> str = "HEllO from SENDER2 \n \r";

			// ********* Send to the Queue ***********////

			if ( xQueueSend(St_Queue_Handler, &ptrtostruct, portMAX_DELAY) == pdPASS)
			{
				char *str2 = "Successfully sent to the queue \n Leaving SENDER2 TASK \n \r";
				HAL_UART_Transmit(&huart1, (uint8_t *)str, strlen(str2), HAL_MAX_DELAY);
			}

			indx2 = indx2+1;
			vTaskDelay(Tickdelay);
		}
}

void Receiver_Task (void *argument)
{
	my_struct *Rptrtostruct;
	uint32_t Tickdelay = pdMS_TO_TICKS(3000);
	char *ptr;

	while (1)
		{
			char *str = "Entered RECEIVER Task\n about to RECEIVE FROM the queue\n\n \r";
			HAL_UART_Transmit(&huart1, (uint8_t *)str, strlen (str), HAL_MAX_DELAY);

			/**** RECEIVE FROM QUEUE *****/
			if (xQueueReceive(St_Queue_Handler, &Rptrtostruct, portMAX_DELAY) == pdPASS)
			{
				ptr = pvPortMalloc(100 * sizeof (char)); // allocate memory for the string

				sprintf (ptr, "Received from QUEUE:\n \r COUNTER = %d\n LARGE VALUE = %u\n STRING = %s\n\n\n",Rptrtostruct->counter,Rptrtostruct->large_value, Rptrtostruct->str);
				HAL_UART_Transmit(&huart1, (uint8_t *)ptr, strlen(ptr), HAL_MAX_DELAY);

				vPortFree(ptr);  // free the string memory
			}

			vPortFree(Rptrtostruct);  // free the structure memory

			vTaskDelay(Tickdelay);
		}
}
/* USER CODE END 4 */

void HAL_TIM_PeriodElapsedCallback(TIM_HandleTypeDef *htim)
{
  if (htim->Instance == TIM5) {
    HAL_IncTick();
  }
}

void Error_Handler(void)
{
  __disable_irq();
  while (1)
  {
  }
}
